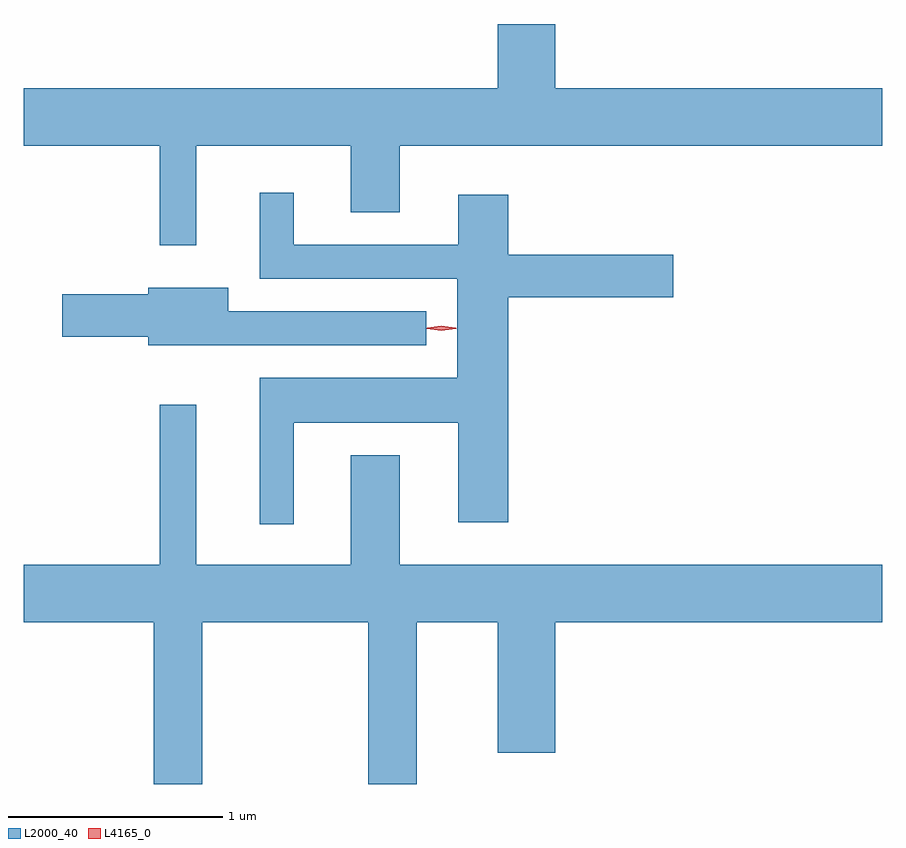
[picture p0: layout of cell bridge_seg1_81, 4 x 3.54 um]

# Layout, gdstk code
import gdstk
lib = gdstk.Library(unit=1e-6, precision=1e-09)
def P(c, l, *ps):  # polygons
    for p in ps: c.add(gdstk.Polygon(p, *l))
L2000_40 = (2000, 40)
L4165_0 = (4165, 0)

bridge_seg1_81 = lib.new_cell('bridge_seg1_81')
P(bridge_seg1_81, L2000_40, [(1212.669,890.696),(1213.391,890.696),(1213.391,890.386),(1213.619,890.386),(1213.619,890.696),(1215.867,890.696),(1215.867,890.964),(1214.344,890.964),(1214.344,891.264),(1214.076,891.264),(1214.076,890.964),(1211.867,890.964),(1211.867,890.696),(1212.501,890.696),(1212.501,890.233),(1212.669,890.233)],
  [(1213.124,889.406),(1213.891,889.406),(1213.891,888.941),(1214.124,888.941),(1214.124,889.991),(1214.894,889.991),(1214.894,890.189),(1214.124,890.189),(1214.124,890.469),(1213.891,890.469),(1213.891,890.234),(1213.124,890.234),(1213.124,890.478),(1212.966,890.478),(1212.966,890.076),(1213.886,890.076),(1213.886,889.614),(1212.966,889.614),(1212.966,888.933),(1213.124,888.933)],
  [(1213.743,889.924),(1212.819,889.924),(1212.819,890.034),(1212.446,890.034),(1212.446,890.004),(1212.046,890.004),(1212.046,889.806),(1212.446,889.806),(1212.446,889.766),(1213.743,889.766)],
  [(1212.699,888.476),(1213.471,888.476),(1213.471,887.721),(1213.699,887.721),(1213.699,888.476),(1214.076,888.476),(1214.076,887.866),(1214.344,887.866),(1214.344,888.476),(1215.867,888.476),(1215.867,888.744),(1213.619,888.744),(1213.619,889.254),(1213.391,889.254),(1213.391,888.744),(1212.669,888.744),(1212.669,889.488),(1212.501,889.488),(1212.501,888.744),(1211.867,888.744),(1211.867,888.476),(1212.471,888.476),(1212.471,887.721),(1212.699,887.721)])
P(bridge_seg1_81, L4165_0, [(1213.813,889.835),(1213.744,889.844),(1213.744,889.845),(1213.744,889.845),(1213.813,889.855),(1213.882,889.845),(1213.883,889.845),(1213.882,889.844)],
  [(1213.813,889.838),(1213.748,889.847),(1213.747,889.847),(1213.748,889.848),(1213.813,889.858),(1213.879,889.848),(1213.879,889.848),(1213.879,889.847)])

lib.write_gds('bridge_seg1_81.gds')
